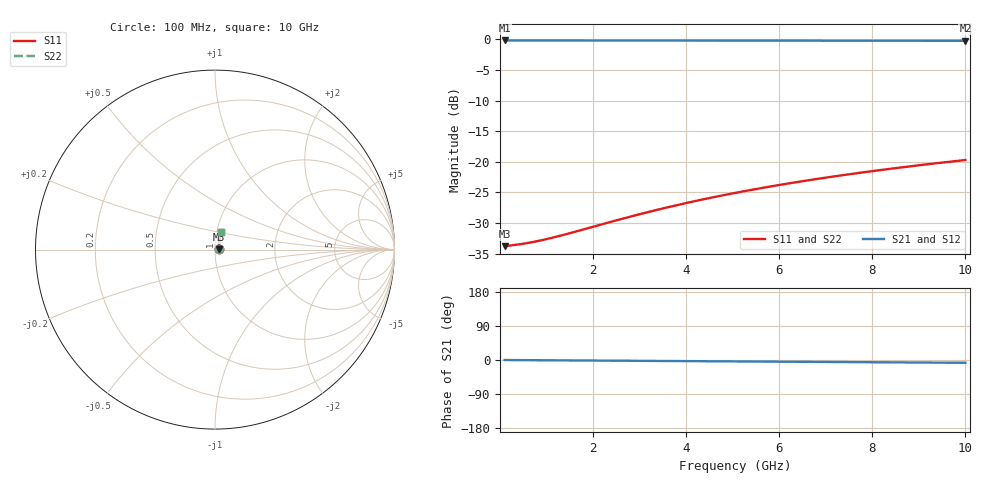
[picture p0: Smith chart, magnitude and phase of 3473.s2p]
# Hz S RI R 50.00
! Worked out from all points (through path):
!   100 points, 100 MHz to 10 GHz, reference 50 ohm
!   highest |S21| = -0.18 dB at 100 MHz (marker M1); lowest = -0.2 dB at 10 GHz (marker M2)
!   group delay of S21, straight-line fit = 2.04 ps
!   lowest |S11| = -33.8 dB at 100 MHz (marker M3), VSWR 1.04, Z = 52.1 + j0.103 ohm
!   |S11| at or under -10 dB: start of sweep to end of sweep
!   |S22| runs from -33.8 to -19.7 dB; largest |S21 - S12| = 0
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1e8  0.0204 0.000991  0.9796 -0.00126  0.9796 -0.00126  0.0204 0.000991
3e8  0.0207 0.00297  0.9793 -0.00378  0.9793 -0.00378  0.0207 0.00297
5e8  0.0208 0.00495  0.9792 -0.00631  0.9792 -0.00631  0.0208 0.00495
8e8  0.021 0.00791  0.979 -0.0101  0.979 -0.0101  0.021 0.00791
1e9  0.0211 0.00989  0.9788 -0.0126  0.9788 -0.0126  0.0211 0.00989
1.2e9  0.0213 0.0119  0.9787 -0.0151  0.9787 -0.0151  0.0213 0.0119
1.5e9  0.0215 0.0148  0.9785 -0.0189  0.9785 -0.0189  0.0215 0.0148
1.8e9  0.0217 0.0178  0.9783 -0.0227  0.9783 -0.0227  0.0217 0.0178
2.7e9  0.0224 0.0267  0.9776 -0.034  0.9776 -0.034  0.0224 0.0267
3.1e9  0.0227 0.0306  0.9772 -0.039  0.9772 -0.039  0.0227 0.0306
3.4e9  0.023 0.0335  0.9769 -0.0428  0.9769 -0.0428  0.023 0.0335
3.8e9  0.0234 0.0375  0.9765 -0.0478  0.9765 -0.0478  0.0234 0.0375
4.2e9  0.0239 0.0414  0.976 -0.0528  0.976 -0.0528  0.0239 0.0414
4.6e9  0.0244 0.0453  0.9755 -0.0578  0.9755 -0.0578  0.0244 0.0453
5.1e9  0.0251 0.0502  0.9748 -0.064  0.9748 -0.064  0.0251 0.0502
5.5e9  0.0257 0.0541  0.9742 -0.069  0.9742 -0.069  0.0257 0.0541
5.9e9  0.0263 0.058  0.9736 -0.074  0.9736 -0.074  0.0263 0.058
6.7e9  0.0276 0.0657  0.9722 -0.0839  0.9722 -0.0839  0.0276 0.0657
7.5e9  0.0291 0.0735  0.9706 -0.0938  0.9706 -0.0938  0.0291 0.0735
8.4e9  0.031 0.0821  0.9687 -0.1049  0.9687 -0.1049  0.031 0.0821
9.2e9  0.0328 0.0897  0.9668 -0.1147  0.9668 -0.1147  0.0328 0.0897
1e10  0.0348 0.0973  0.9648 -0.1245  0.9648 -0.1245  0.0348 0.0973
